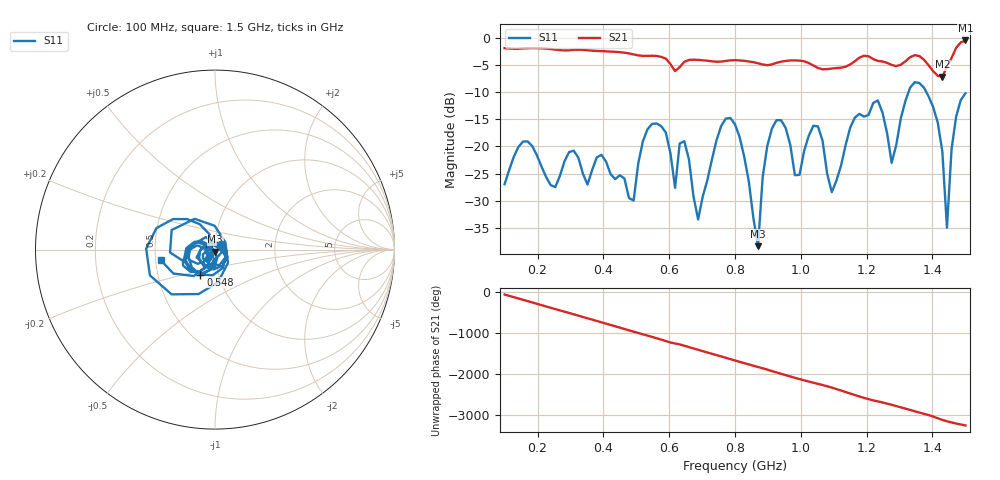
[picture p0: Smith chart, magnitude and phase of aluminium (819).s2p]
! NanoVNA-App
! Date: 2025-09-25 15:01:39
! Start: 100MHz Stop: 1,5GHz Points: 101
! S-Parameter data: F S11 S21 S12 S22
# Hz S RI R 50
!  Frequency  S11_Real  S11_Imag  S21_Real  S21_Imag  S12_Real  S12_Imag  S22_Real  S22_Imag
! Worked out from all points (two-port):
!   101 points, 100 MHz to 1.5 GHz, reference 50 ohm
!   highest |S21| = -0.49 dB at 1.5 GHz (marker M1); lowest = -7.2 dB at 1.43 GHz (marker M2)
!   |S21| within 3 dB of the highest: start of sweep to 573.7 MHz; 1.46 GHz to end of sweep (the widest 2 of 4)
!   lowest |S11| = -38.4 dB at 870 MHz (marker M3), VSWR 1.02, Z = 50 - j1.21 ohm
!   |S11| at or under -10 dB: start of sweep to 1.327 GHz; 1.381 GHz to end of sweep
!   S12 and S22 are empty: the file has one direction only
!   S11 on the Smith chart (normalised r, x): 100 MHz: 1.07, +0.06; 548 MHz: 0.82, -0.23; 1.5 GHz: 0.53, -0.07
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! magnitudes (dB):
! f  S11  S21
! 100 MHz  -27.0  -1.9
! 156 MHz  -19.1  -2.0
! 338 MHz  -25.0  -2.2
! 492 MHz  -30.0  -3.1
! 548 MHz  -15.9  -3.3
! 576 MHz  -16.3  -3.5
! 618 MHz  -27.6  -6.1
! 646 MHz  -19.1  -4.4
! 688 MHz  -33.5  -4.1
! 800 MHz  -15.9  -4.1
! 870 MHz  -38.4  -4.7
! 912 MHz  -16.8  -4.9
! 982 MHz  -25.3  -4.2
! 1.038 GHz  -16.2  -5.1
! 1.094 GHz  -28.4  -5.7
! 1.234 GHz  -11.5  -4.3
! 1.276 GHz  -23.0  -5.0
! 1.346 GHz  -8.2  -3.2
! 1.43 GHz  -21.0  -7.2
! 1.444 GHz  -35.0  -5.3
! 1.458 GHz  -20.5  -3.7
! 1.5 GHz  -10.2  -0.5
